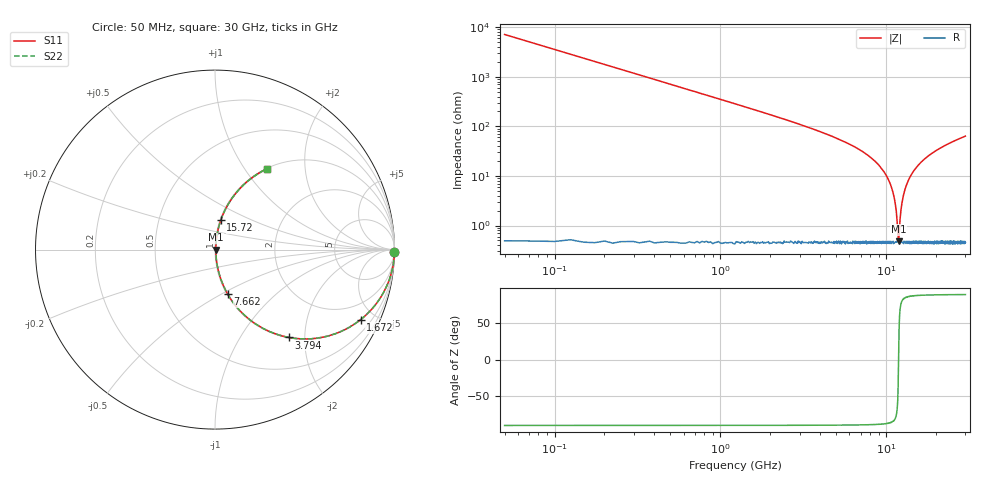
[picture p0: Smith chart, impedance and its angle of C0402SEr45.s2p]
!	AVX Thin Film Operation 	Date: April 2014
!	Description: Accu-P® Series, Thin Film  SMD RF Capacitor
!	Part Number: 04021JR45ZBSTR
# MHZ S MA R 50
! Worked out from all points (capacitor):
!   1201 points, 50 MHz to 30 GHz, reference 50 ohm
!   read as one part in series: C = 448 fF near 199.8 MHz
!   lowest |Z| = 482 mohm at 11.86 GHz (marker M1)
!   series resonance near 11.86 GHz, so ESL is about 400 pH
!   S11 on the Smith chart (normalised r, x): 50 MHz: open; 1.672 GHz: 1.01, -4.15; 3.794 GHz: 1.01, -1.67; 7.662 GHz: 1.01, -0.54; 15.72 GHz: 1.01, +0.34; 30 GHz: 1.01, +1.27
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50  1 -0.8  0.014 89.2  0.014 89.2  1 -0.8
299.583  0.996 -4.8  0.084 85.1  0.084 85.1  0.996 -4.8
549.167  0.988 -8.8  0.154 81.1  0.154 81.1  0.988 -8.8
998.417  0.962 -15.9  0.273 74.1  0.273 74.1  0.962 -15.9
1672.292  0.9 -25.7  0.434 64.1  0.434 64.1  0.9 -25.7
3793.75  0.64 -49.9  0.765 39.8  0.765 39.8  0.64 -49.9
5041.667  0.497 -59.8  0.864 29.8  0.864 29.8  0.497 -59.8
7662.292  0.259 -74.0  0.962 15.0  0.962 15.0  0.259 -74.0
10058.29  0.098 -81.7  0.991 5.6  0.991 5.6  0.098 -81.7
11181.42  0.035 -80.6  0.995 2.0  0.995 2.0  0.035 -80.6
11480.92  0.02 -75.7  0.995 1.1  0.995 1.1  0.02 -75.7
11755.46  0.007061 -49.5  0.995 0.3  0.995 0.3  0.007061 -49.5
11855.29  0.004575 -4.6  0.995 0.0  0.995 0.0  0.004575 -4.6
11955.12  0.006481 45.0  0.995 -0.3  0.995 -0.3  0.006481 45.0
12354.46  0.025 77.9  0.995 -1.4  0.995 -1.4  0.025 77.9
12828.67  0.047 81.7  0.994 -2.7  0.994 -2.7  0.047 81.7
13727.17  0.087 82.0  0.992 -5.0  0.992 -5.0  0.087 82.0
15025  0.14 80.1  0.986 -8.1  0.986 -8.1  0.14 80.1
15723.83  0.167 78.8  0.981 -9.6  0.981 -9.6  0.167 78.8
20016.67  0.309 71.2  0.947 -18.0  0.947 -18.0  0.309 71.2
25033.29  0.437 63.6  0.895 -25.9  0.895 -25.9  0.437 63.6
30000  0.535 57.2  0.841 -32.3  0.841 -32.3  0.535 57.2
